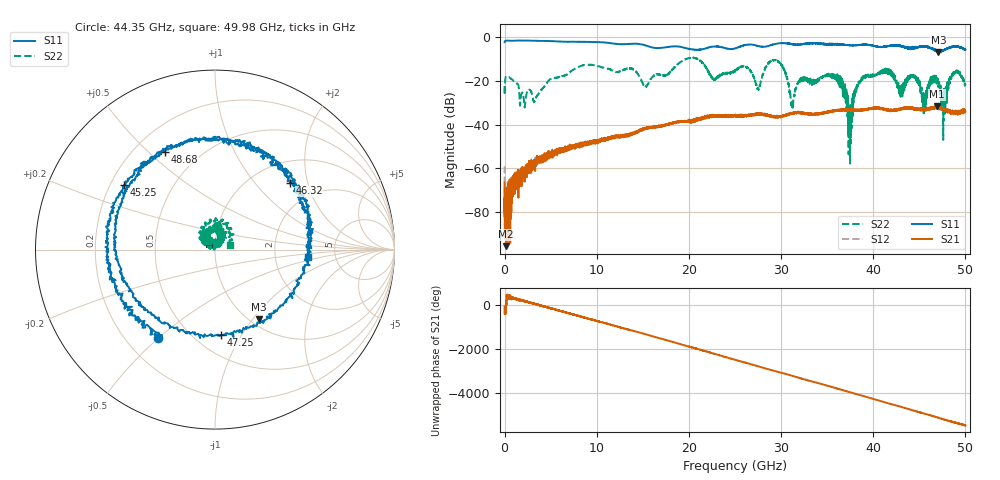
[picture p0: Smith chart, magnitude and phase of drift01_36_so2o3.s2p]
!Created with skrf (http://scikit-rf.org).
# Hz S RI R 50.0
!freq ReS11 ImS11 ReS21 ImS21 ReS12 ImS12 ReS22 ImS22
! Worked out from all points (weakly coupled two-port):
!   10001 points, 300 kHz to 50 GHz, reference 50 ohm
!   highest |S21| = -31.50 dB at 46.92 GHz (marker M1); lowest = -95.6 dB at 155.3 MHz (marker M2)
!   lowest |S11| = -6.8 dB at 47.07 GHz (marker M3), VSWR 2.70, Z = 54.7 - j53.9 ohm
!   |S11| at or under -10 dB: nowhere
!   |S22| runs from -57.7 to -9.2 dB; largest |S21 - S12| = 0.0037
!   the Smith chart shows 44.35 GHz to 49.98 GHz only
!   S11 on the Smith chart (normalised r, x): 44.35 GHz: 0.33, -0.50; 45.25 GHz: 0.26, +0.30; 46.32 GHz: 1.45, +1.55; 47.25 GHz: 0.66, -0.82; 48.68 GHz: 0.32, +0.56; 49.98 GHz: 3.14, -0.35
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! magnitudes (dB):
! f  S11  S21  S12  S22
! 300 kHz  -2.1  -66.5  -59.0  -22.2
! 155.3 MHz  -1.5  -95.6  -76.1  -17.8
! 3.285 GHz  -1.5  -58.1  -57.1  -28.9
! 8.335 GHz  -1.9  -49.4  -48.9  -12.9
! 16.67 GHz  -4.8  -40.9  -40.6  -16.7
! 25 GHz  -5.0  -35.8  -36.0  -15.4
! 29.58 GHz  -2.8  -36.4  -36.3  -10.6
! 31.23 GHz  -3.1  -34.8  -34.6  -30.9
! 33.34 GHz  -2.6  -35.2  -35.0  -19.9
! 36.08 GHz  -3.1  -33.5  -33.4  -18.5
! 37.47 GHz  -3.6  -33.3  -33.2  -33.4
! 38.65 GHz  -3.4  -33.2  -33.1  -20.2
! 41.67 GHz  -3.9  -33.3  -33.3  -15.6
! 44.35 GHz  -4.7  -32.5  -32.4  -17.4
! 45.25 GHz  -4.1  -33.0  -32.8  -23.8
! 46.32 GHz  -5.1  -32.6  -32.4  -19.8
! 46.92 GHz  -6.1  -31.5  -31.9  -20.1
! 47.07 GHz  -6.8  -32.2  -32.2  -22.4
! 47.25 GHz  -6.4  -32.6  -31.7  -24.9
! 48.68 GHz  -4.3  -34.6  -33.8  -16.5
! 49.98 GHz  -5.6  -33.2  -33.4  -21.3
! 50 GHz  -5.6  -33.9  -33.8  -21.7
